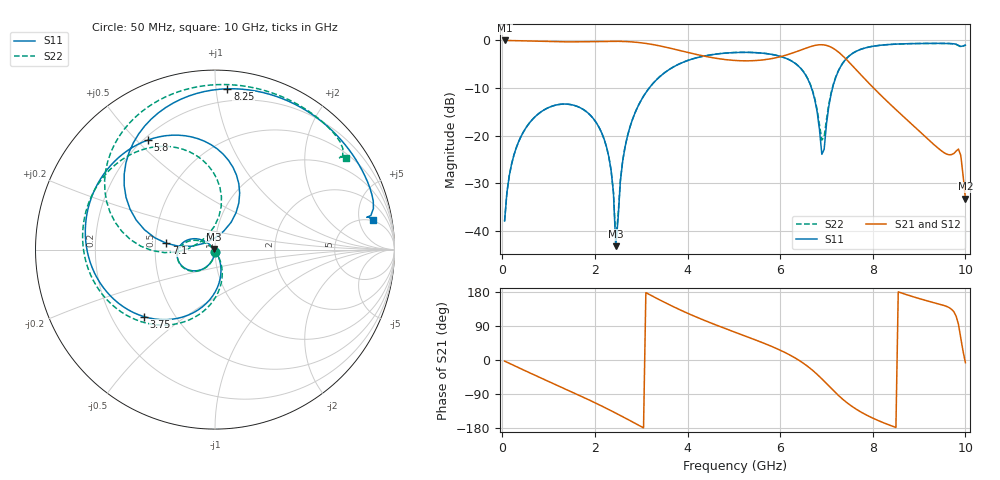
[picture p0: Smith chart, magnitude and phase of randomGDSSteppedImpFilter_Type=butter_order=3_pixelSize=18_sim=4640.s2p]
! freq	dB(S11)	phase(S11)	dB(S12)	phase(S12)
!  dB(S21)	phase(S21)	dB(S22)	phase(S22)
!S-par simulation data
#  GHz  S  DB  R 50
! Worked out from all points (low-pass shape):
!   200 points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, 50 MHz to 10 GHz, reference 50 ohm
!   highest |S21| = 0.00 dB at 50 MHz (marker M1); lowest = -33.3 dB at 10 GHz (marker M2)
!   |S21| within 3 dB of the highest: start of sweep to 4.218 GHz; 6.156 GHz to 7.324 GHz (1.168 GHz wide, 17.3 % of centre)
!   lowest |S11| = -43.3 dB at 2.45 GHz (marker M3), VSWR 1.01, Z = 49.4 + j0.347 ohm
!   |S11| at or under -10 dB: start of sweep to 3.174 GHz; 6.676 GHz to 7.132 GHz (456.8 MHz wide, 6.62 % of centre)
!   |S22| runs from -41.8 to -0.6 dB; largest |S21 - S12| = 0
!   S11 on the Smith chart (normalised r, x): 50 MHz: 1.00, -0.03; 3.75 GHz: 0.34, -0.36; 5.8 GHz: 0.22, +0.54; 7.1 GHz: 0.57, +0.04; 8.25 GHz: 0.12, +1.07; 10 GHz: 4.92, +7.87
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0.05  -37.98 -92.7  -0.00 -2.9  -0.00 -2.9  -37.98 -92.6
0.2  -26.03 -101.9  -0.03 -11.6  -0.03 -11.6  -26.03 -101.6
0.55  -17.82 -122.4  -0.12 -31.5  -0.12 -31.5  -17.82 -121.5
1.75  -14.53 169.8  -0.27 -98.3  -0.27 -98.3  -14.53 173.1
2.25  -22.38 141.1  -0.18 -127.7  -0.18 -127.7  -22.40 146.8
2.4  -32.00 135.3  -0.18 -137.0  -0.18 -137.0  -31.95 145.8
2.45  -43.28 149.2  -0.18 -140.1  -0.18 -140.1  -41.75 173.4
2.55  -29.58 -63.6  -0.19 -146.5  -0.19 -146.5  -29.40 -64.6
2.7  -20.25 -70.7  -0.25 -156.1  -0.25 -156.1  -20.20 -68.1
3.4  -7.63 -115.4  -1.14 158.5  -1.14 158.5  -7.61 -110.0
3.75  -5.29 -136.7  -1.92 137.4  -1.92 137.4  -5.27 -130.3
5.05  -2.53 157.5  -4.23 72.2  -4.23 72.2  -2.52 167.6
5.8  -2.91 121.4  -3.85 36.7  -3.85 36.7  -2.90 134.4
6.3  -4.66 92.1  -2.53 7.0  -2.53 7.0  -4.64 107.6
6.7  -10.69 62.9  -1.17 -27.2  -1.17 -27.2  -10.54 83.1
6.9  -23.95 92.5  -0.90 -49.8  -0.90 -49.8  -20.95 117.1
7.1  -11.27 172.7  -1.42 -74.5  -1.42 -74.5  -11.01 -176.6
7.55  -2.82 131.5  -5.21 -122.3  -5.21 -122.3  -2.79 148.0
8.25  -0.93 85.6  -12.25 -166.5  -12.25 -166.5  -0.93 105.6
8.35  -0.85 80.4  -13.18 -171.3  -13.18 -171.3  -0.85 100.8
9.85  -1.02 12.3  -22.85 94.1  -22.85 94.1  -1.09 36.3
10  -0.98 10.5  -33.28 -7.0  -33.28 -7.0  -1.00 35.0
